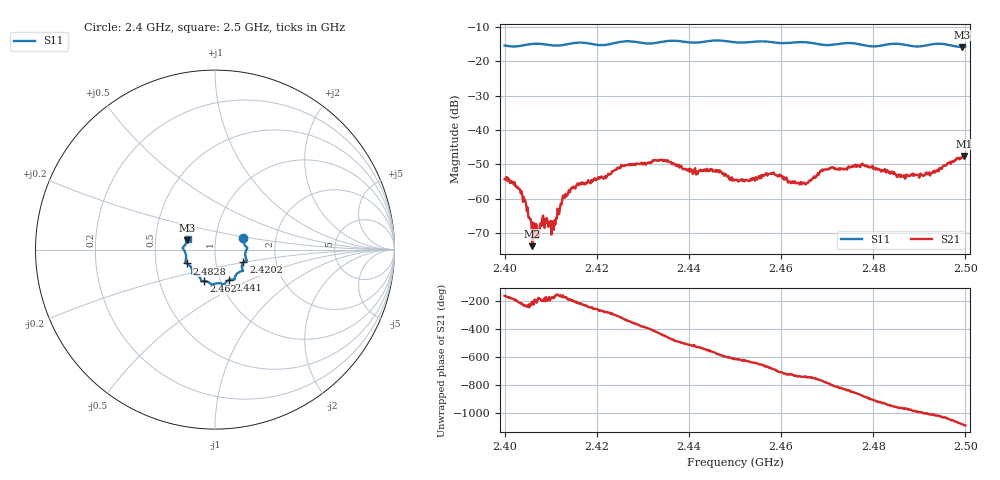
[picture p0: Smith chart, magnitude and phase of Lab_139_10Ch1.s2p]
# Hz S RI R 50
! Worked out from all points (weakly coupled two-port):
!   601 points, 2.4 GHz to 2.5 GHz, reference 50 ohm
!   highest |S21| = -47.51 dB at 2.4997 GHz (marker M1); lowest = -73.8 dB at 2.406 GHz (marker M2)
!   lowest |S11| = -15.8 dB at 2.4993 GHz (marker M3), VSWR 1.39, Z = 36.5 + j3.85 ohm
!   |S11| at or under -10 dB: start of sweep to end of sweep
!   S12 and S22 are empty: the file has one direction only
!   S11 on the Smith chart (normalised r, x): 2.4 GHz: 1.36, +0.18; 2.4202 GHz: 1.36, -0.20; 2.441 GHz: 1.10, -0.39; 2.462 GHz: 0.84, -0.30; 2.4828 GHz: 0.72, -0.11; 2.5 GHz: 0.73, +0.09
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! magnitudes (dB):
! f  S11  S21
! 2.4 GHz  -15.4  -54.3
! 2.4033 GHz  -15.5  -57.2
! 2.406 GHz  -14.9  -73.8
! 2.4072 GHz  -14.9  -71.6
! 2.4087 GHz  -15.0  -68.5
! 2.4107 GHz  -15.4  -69.0
! 2.4127 GHz  -15.2  -59.1
! 2.4167 GHz  -14.5  -55.8
! 2.4202 GHz  -15.2  -54.2
! 2.4333 GHz  -14.5  -48.7
! 2.441 GHz  -14.6  -52.1
! 2.45 GHz  -14.4  -54.5
! 2.458 GHz  -14.4  -52.6
! 2.462 GHz  -14.6  -55.3
! 2.4667 GHz  -14.6  -54.4
! 2.471 GHz  -15.2  -50.8
! 2.4828 GHz  -15.1  -52.4
! 2.4833 GHz  -15.0  -52.3
! 2.4922 GHz  -15.2  -52.3
! 2.4993 GHz  -15.8  -47.9
! 2.4997 GHz  -15.8  -47.5
! 2.5 GHz  -15.7  -47.8
